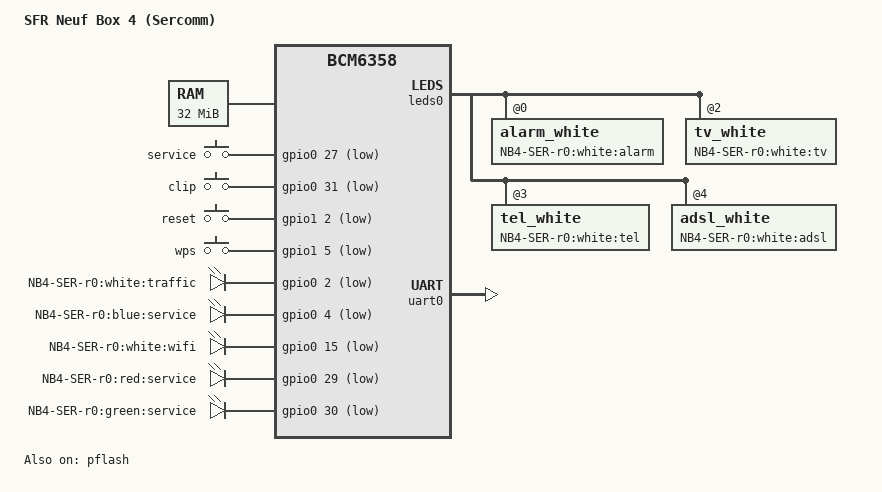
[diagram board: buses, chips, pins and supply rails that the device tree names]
/dts-v1/;

#include "bcm6358.dtsi"

#include <dt-bindings/input/input.h>

/ {
	model = "SFR Neuf Box 4 (Sercomm)";
	compatible = "sfr,nb4-ser-r0", "brcm,bcm6358";

	memory@0 {
		device_type = "memory";
		reg = <0x00000000 0x02000000>;
	};

	chosen {
		bootargs = "console=ttyS0,115200";
		stdout-path = &uart0;
	};

	gpio-keys-polled {
		compatible = "gpio-keys-polled";
		#address-cells = <1>;
		#size-cells = <0>;
		poll-interval = <20>;
		debounce-interval = <60>;

		service {
			label = "service";
			gpios = <&gpio0 27 1>;
			linux,code = <BTN_0>;
		};
		clip {
			label = "clip";
			gpios = <&gpio0 31 1>;
			linux,code = <BTN_1>;
		};
		reset {
			label = "reset";
			gpios = <&gpio1 2 1>;
			linux,code = <KEY_RESTART>;
		};
		wps {
			label = "wps";
			gpios = <&gpio1 5 1>;
			linux,code = <KEY_WPS_BUTTON>;
		};
	};

	gpio-leds {
		compatible = "gpio-leds";

		traffic_white {
			label = "NB4-SER-r0:white:traffic";
			gpios = <&gpio0 2 1>;
		};
		service_blue {
			label = "NB4-SER-r0:blue:service";
			gpios = <&gpio0 4 1>;
		};
		wifi_white {
			label = "NB4-SER-r0:white:wifi";
			gpios = <&gpio0 15 1>;
		};
		service_red {
			label = "NB4-SER-r0:red:service";
			gpios = <&gpio0 29 1>;
		};
		service_green {
			label = "NB4-SER-r0:green:service";
			gpios = <&gpio0 30 1>;
		};
	};
};

&leds0 {
	status = "ok";
	brcm,clk-div = <1>;

	alarm_white@0 {
		reg = <0>;
		active-low;
		label = "NB4-SER-r0:white:alarm";
	};
	tv_white@2 {
		reg = <2>;
		active-low;
		label = "NB4-SER-r0:white:tv";
	};
	tel_white@3 {
		reg = <3>;
		active-low;
		label = "NB4-SER-r0:white:tel";
	};
	adsl_white@4 {
		reg = <4>;
		active-low;
		label = "NB4-SER-r0:white:adsl";
	};
};

&pflash {
	status = "ok";

	cfe@0 {
		label = "cfe";
		reg = <0x000000 0x010000>;
		read-only;
	};
	linux@10000 {
		label = "linux";
		reg = <0x010000 0x7e0000>;
	};
	nvram@7f0000 {
		label = "nvram";
		reg = <0x7f0000 0x010000>;
	};
};

&uart0 {
	status = "ok";
};
